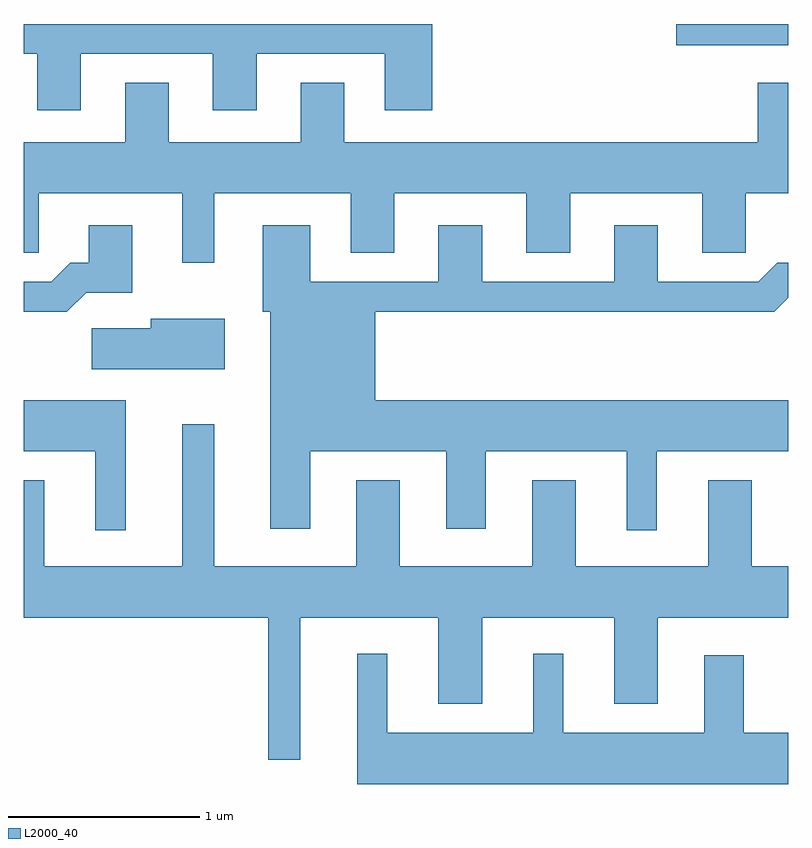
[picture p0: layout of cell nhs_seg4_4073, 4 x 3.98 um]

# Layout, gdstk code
import gdstk
lib = gdstk.Library(unit=1e-6, precision=1e-09)
def R(c, l, rs):  # rectangles x0, y0, x1, y1
    for r in rs: c.add(gdstk.rectangle(r[:2], r[2:], *l))
def P(c, l, *ps):  # polygons
    for p in ps: c.add(gdstk.Polygon(p, *l))
L2000_40 = (2000, 40)

nhs_seg4_4073 = lib.new_cell('nhs_seg4_4073')
R(nhs_seg4_4073, L2000_40, [(307.026,1379.871,307.611,1379.982)])
P(nhs_seg4_4073, L2000_40, [(303.909,1379.826),(304.601,1379.826),(304.601,1379.531),(304.829,1379.531),(304.829,1379.826),(305.501,1379.826),(305.501,1379.531),(305.749,1379.531),(305.749,1379.982),(303.611,1379.982),(303.611,1379.826),(303.681,1379.826),(303.681,1379.531),(303.909,1379.531)],
  [(304.609,1379.096),(305.321,1379.096),(305.321,1378.786),(305.549,1378.786),(305.549,1379.096),(306.241,1379.096),(306.241,1378.786),(306.469,1378.786),(306.469,1379.096),(307.161,1379.096),(307.161,1378.786),(307.389,1378.786),(307.389,1379.096),(307.611,1379.096),(307.611,1379.674),(307.451,1379.674),(307.451,1379.364),(305.289,1379.364),(305.289,1379.674),(305.061,1379.674),(305.061,1379.364),(304.369,1379.364),(304.369,1379.674),(304.141,1379.674),(304.141,1379.364),(303.611,1379.364),(303.611,1378.786),(303.689,1378.786),(303.689,1379.096),(304.441,1379.096),(304.441,1378.733),(304.609,1378.733)],
  [(306.924,1377.746),(307.611,1377.746),(307.611,1378.014),(305.449,1378.014),(305.449,1378.476),(307.537,1378.476),(307.611,1378.55),(307.611,1378.734),(307.554,1378.734),(307.454,1378.634),(306.929,1378.634),(306.929,1378.929),(306.701,1378.929),(306.701,1378.634),(306.009,1378.634),(306.009,1378.929),(305.781,1378.929),(305.781,1378.634),(305.109,1378.634),(305.109,1378.929),(304.861,1378.929),(304.861,1378.476),(304.901,1378.476),(304.901,1377.341),(305.109,1377.341),(305.109,1377.746),(305.821,1377.746),(305.821,1377.341),(306.029,1377.341),(306.029,1377.746),(306.766,1377.746),(306.766,1377.333),(306.924,1377.333)],
  [(303.937,1378.576),(304.179,1378.576),(304.179,1378.929),(303.951,1378.929),(303.951,1378.734),(303.854,1378.734),(303.754,1378.634),(303.611,1378.634),(303.611,1378.476),(303.837,1378.476)],
  [(304.664,1378.439),(304.276,1378.439),(304.276,1378.389),(303.966,1378.389),(303.966,1378.176),(304.664,1378.176)],
  [(304.144,1378.014),(303.611,1378.014),(303.611,1377.746),(303.986,1377.746),(303.986,1377.333),(304.144,1377.333)],
  [(305.059,1376.876),(305.781,1376.876),(305.781,1376.426),(306.009,1376.426),(306.009,1376.876),(306.701,1376.876),(306.701,1376.426),(306.929,1376.426),(306.929,1376.876),(307.611,1376.876),(307.611,1377.144),(307.419,1377.144),(307.419,1377.594),(307.191,1377.594),(307.191,1377.144),(306.499,1377.144),(306.499,1377.594),(306.271,1377.594),(306.271,1377.144),(305.579,1377.144),(305.579,1377.594),(305.351,1377.594),(305.351,1377.144),(304.609,1377.144),(304.609,1377.888),(304.441,1377.888),(304.441,1377.144),(303.719,1377.144),(303.719,1377.594),(303.611,1377.594),(303.611,1376.876),(304.891,1376.876),(304.891,1376.133),(305.059,1376.133)],
  [(307.611,1376.274),(307.379,1376.274),(307.379,1376.679),(307.171,1376.679),(307.171,1376.274),(306.434,1376.274),(306.434,1376.688),(306.276,1376.688),(306.276,1376.274),(305.514,1376.274),(305.514,1376.688),(305.356,1376.688),(305.356,1376.006),(307.611,1376.006)])

lib.write_gds('nhs_seg4_4073.gds')
